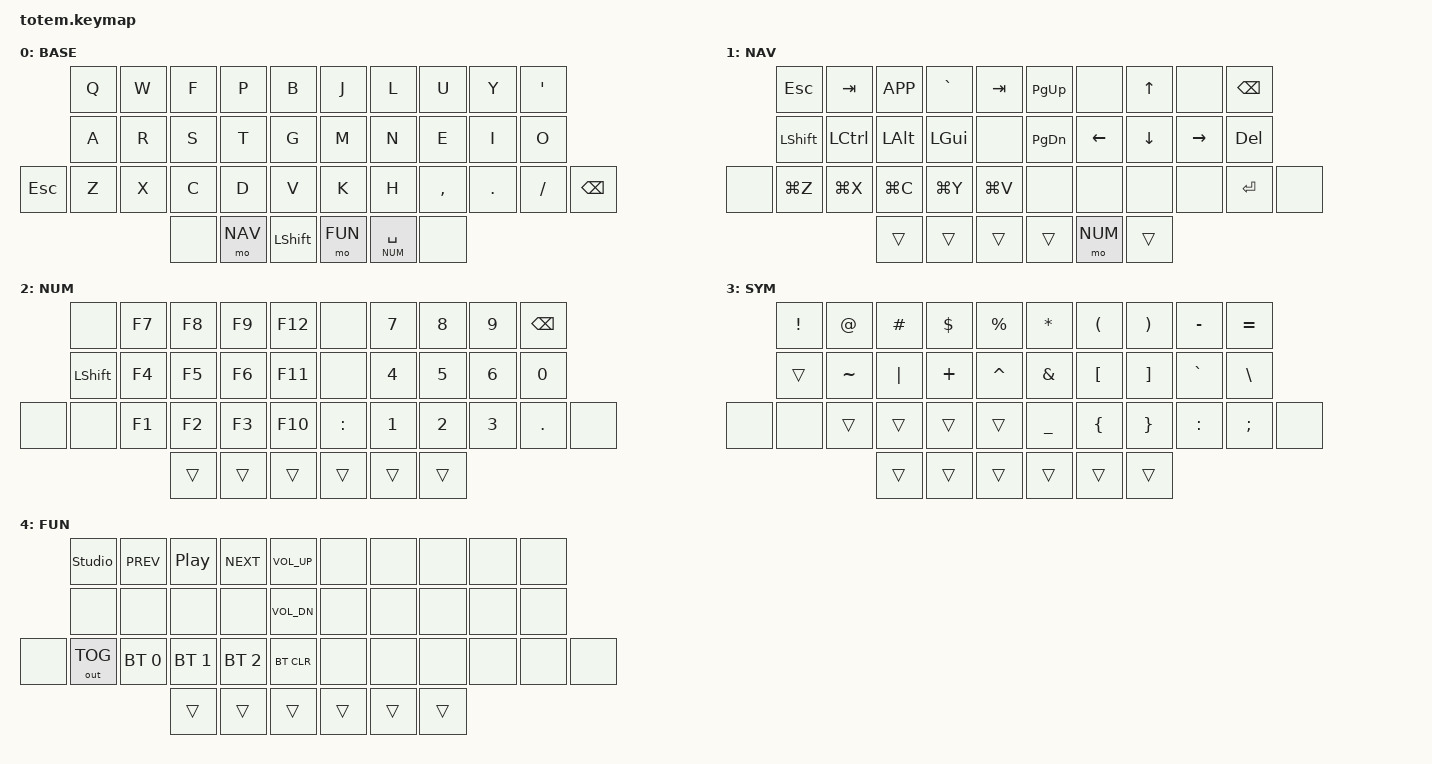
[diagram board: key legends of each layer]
/*
 * TOTEM TEST KEYMAP (Minimal & Clean for ZMK Main / Zephyr 4.1)
 */

#include <behaviors.dtsi>
#include <dt-bindings/zmk/keys.h>
#include <dt-bindings/zmk/bt.h>
#include <dt-bindings/zmk/outputs.h>

#define BASE 0
#define NAV  1
#define NUM  2
#define SYM  3
#define FUN  4

/ {
    chosen {
        zmk,matrix-transform = &default_transform;
        zmk,physical-layout = &default_layout;
    };

    conditional_layers {
        compatible = "zmk,conditional-layers";
        tri_layer {
            if-layers = <NAV NUM>;
            then-layer = <SYM>;
        };
    };

    keymap {
        compatible = "zmk,keymap";

        BASE {
            display-name = "BASE";
            bindings = <
                &kp Q      &kp W      &kp F      &kp P      &kp B        &kp J      &kp L      &kp U      &kp Y      &kp SQT
                &kp A      &kp R      &kp S      &kp T      &kp G        &kp M      &kp N      &kp E      &kp I      &kp O
    &kp ESC     &kp Z      &kp X      &kp C      &kp D      &kp V        &kp K      &kp H      &kp COMMA  &kp DOT    &kp FSLH  &kp BSPC
                                      &none      &mo NAV    &kp LSHFT    &mo FUN    &lt NUM SPACE &none
            >;
        };

        NAV {
            display-name = "NAV";
            bindings = <
                &kp ESC    &kp TAB    &kp K_APP  &kp GRAVE  &kp TAB      &kp PG_UP  &none      &kp UP     &none      &kp BSPC
                &kp LSHFT  &kp LCTRL  &kp LALT   &kp LGUI   &none        &kp PG_DN  &kp LEFT   &kp DOWN   &kp RIGHT  &kp DEL
    &none       &kp LG(Z)  &kp LG(X)  &kp LG(C)  &kp LG(Y)  &kp LG(V)    &none      &none      &none      &none      &kp ENTER &none
                                      &trans     &trans     &trans       &trans     &mo NUM    &trans
            >;
        };

        NUM {
            display-name = "NUM";
            bindings = <
                &none      &kp F7     &kp F8     &kp F9     &kp F12      &none      &kp N7     &kp N8     &kp N9     &kp BSPC
                &kp LSHFT  &kp F4     &kp F5     &kp F6     &kp F11      &none      &kp N4     &kp N5     &kp N6     &kp N0
    &none       &none      &kp F1     &kp F2     &kp F3     &kp F10      &kp COLON  &kp N1     &kp N2     &kp N3     &kp DOT   &none
                                      &trans     &trans     &trans       &trans     &trans     &trans
            >;
        };

        SYM {
            display-name = "SYM";
            bindings = <
                &kp EXCL   &kp AT     &kp HASH   &kp DLLR   &kp PRCNT    &kp ASTRK  &kp LPAR   &kp RPAR   &kp MINUS  &kp EQUAL
                &trans     &kp TILDE  &kp PIPE   &kp PLUS   &kp CARET    &kp AMPS   &kp LBKT   &kp RBKT   &kp GRAVE  &kp BSLH
    &none       &none      &trans     &trans     &trans     &trans       &kp UNDER  &kp LBRC   &kp RBRC   &kp COLON  &kp SEMI  &none
                                      &trans     &trans     &trans       &trans     &trans     &trans
            >;
        };

        FUN {
            display-name = "FUN";
            bindings = <
                &studio_unlock &kp C_PREV &kp C_PP &kp C_NEXT &kp C_VOL_UP   &none  &none        &none        &none        &none
                &none          &none      &none    &none      &kp C_VOL_DN   &none  &none        &none        &none        &none
    &none       &out OUT_TOG   &bt BT_SEL 0 &bt BT_SEL 1 &bt BT_SEL 2 &bt BT_CLR &none &none     &none        &none        &none     &none
                                          &trans   &trans     &trans         &trans &trans       &trans
            >;
        };
    };
};
